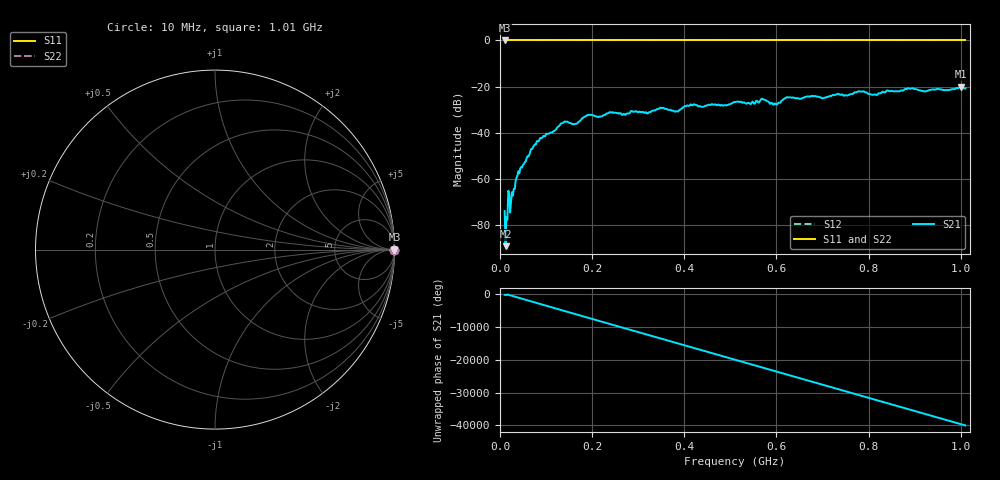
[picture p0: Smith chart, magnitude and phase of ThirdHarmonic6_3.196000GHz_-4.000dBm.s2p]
! 8/17/2025 9:41:25 AM
! C:\ANRITSUVNA\TEMP\TEMP.S2P
! CHANNEL.1
! TR.MEASUREMENT
! RAW.DATA
! RF.CORRECTION.OFF
! AVERAGING.OFF
! IF.BANDWIDTH: 5KHZ
! SWEEPTYPE:  FREQ.SWEEP(Linear)
! Reference Plane Port Info
! PORT:  PORT1  PORT2
! DISTANCE:  0  m  0  m
! TIME:  0  s  0  s
! PHASE.OFFSET:  0  deg.  0  deg.
! LOSS:  0  dB  0  dB
! REF.LOSS:  0  dB  0  dB
! REF.FREQ:  0  Hz  0  Hz
! Power Info
! POWER:  -20  dBm  -20  dBm
! EFF.POWER:  -20  dBm  -20  dBm
! SOURCE.ATTEN:  0  dB  0  dB
! TEST.ATTEN:  0  dB  0  dB
# GHZ S RI R 50.0
! FREQ.GHZ  S11RE  S11IM  S21RE  S21IM  S12RE  S12IM  S22RE  S22IM
!; PortSelection: Port_12
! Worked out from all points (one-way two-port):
!   501 points, 10 MHz to 1.01 GHz, reference 50 ohm
!   highest |S21| = -20.04 dB at 1 GHz (marker M1); lowest = -88.9 dB at 12 MHz (marker M2)
!   lowest |S11| = 0.0 dB at 10 MHz (marker M3)
!   |S11| at or under -10 dB: nowhere
!   |S22| runs from 0.0 to 0.0 dB; largest |S21 - S12| = 1.1
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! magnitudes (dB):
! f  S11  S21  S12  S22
! 10 MHz  0.0  -73.8  0.0  0.0
! 12 MHz  0.0  -88.9  0.0  0.0
! 22 MHz  0.0  -74.4  0.0  0.0
! 26 MHz  0.0  -65.6  0.0  0.0
! 40 MHz  0.0  -56.5  0.0  0.0
! 76 MHz  0.0  -44.9  0.0  0.0
! 136 MHz  0.0  -35.7  0.0  0.0
! 164 MHz  0.0  -36.1  0.0  0.0
! 178 MHz  0.0  -33.7  0.0  0.0
! 344 MHz  0.0  -29.6  0.0  0.0
! 382 MHz  0.0  -30.6  0.0  0.0
! 410 MHz  0.0  -28.3  0.0  0.0
! 510 MHz  0.0  -26.6  0.0  0.0
! 570 MHz  0.0  -25.2  0.0  0.0
! 598 MHz  0.0  -27.5  0.0  0.0
! 622 MHz  0.0  -24.6  0.0  0.0
! 678 MHz  0.0  -23.9  0.0  0.0
! 782 MHz  0.0  -22.1  0.0  0.0
! 814 MHz  0.0  -23.4  0.0  0.0
! 844 MHz  0.0  -21.9  0.0  0.0
! 1 GHz  0.0  -20.0  0.0  0.0
! 1.01 GHz  0.0  -20.8  0.0  0.0
